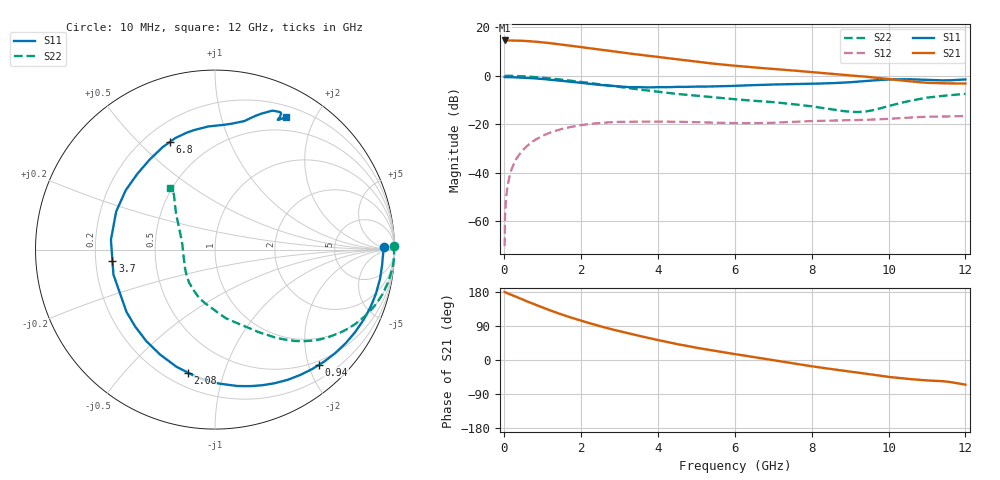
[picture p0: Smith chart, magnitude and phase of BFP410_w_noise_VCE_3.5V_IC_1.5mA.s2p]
! Infineon Technologies  Discrete & RF Semiconductors
! BFP410
! VCE =  3.5 V,  IC =  1.5 mA
! Common Emitter S-Parameters:  Nov 2015
# GHz  S  MA  R  50
!  f  S11  S21  S12  S22
! GHz  MAG  ANG  MAG  ANG  MAG  ANG  MAG  ANG
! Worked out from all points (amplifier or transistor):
!   243 points, 10 MHz to 12 GHz, reference 50 ohm
!   highest |S21| = 14.6 dB at 10 MHz (marker M1)
!   |S21| within 3 dB of that: start of sweep to 2.121 GHz
!   unconditionally stable (mu >= 1): 4.355 GHz to end of sweep
!   at 240 MHz: K = 0.04, MSG = 25.7 dB, |S12| = -36.8 dB
!   at 1.84 GHz: K = 0.32, MSG = 16.5 dB, |S12| = -20.8 dB
!   at 12 GHz: K = 1.18, MAG = 4.2 dB, |S12| = -16.7 dB
!   lowest NFmin = 0.80 dB at 900 MHz
!   S11 on the Smith chart (normalised r, x): 10 MHz: 32, +9; 940 MHz: 0.43, -2.19; 2.08 GHz: 0.28, -0.76; 3.7 GHz: 0.27, -0.05; 6.8 GHz: 0.30, +0.63; 12 GHz: 0.32, +1.63
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0.01  0.944 0.9  5.371 179.4  0.0003 -68.3  1 1.0
0.02  0.9391 -0.3  5.338 179.3  0.0012 80.7  0.9916 0.4
0.045  0.9359 -2.0  5.332 177.8  0.0027 82.9  0.9971 -0.6
0.095  0.9354 -4.6  5.354 176.0  0.0056 85.3  0.9979 -2.1
0.175  0.9336 -8.8  5.358 172.6  0.0106 84.2  0.9962 -4.2
0.5  0.9153 -25.4  5.271 158.8  0.03 76.1  0.9754 -12.3
0.7  0.8958 -35.6  5.157 150.4  0.0414 70.4  0.9546 -17.2
0.94  0.865 -47.8  4.957 140.8  0.0543 63.8  0.9217 -22.7
1.4  0.7999 -70.9  4.511 123.4  0.0756 51.5  0.8474 -32.4
1.7  0.7555 -85.1  4.214 113.2  0.0865 44.2  0.7966 -37.8
2.02  0.7111 -99.8  3.894 103.2  0.0959 37.2  0.7431 -43.0
2.08  0.7015 -102.5  3.838 101.4  0.0973 35.8  0.7328 -43.9
2.8  0.6178 -136.0  3.228 81.0  0.1096 21.8  0.6137 -53.9
3.7  0.5748 -173.9  2.611 59.5  0.1129 9.2  0.4995 -64.1
4.1  0.5804 171.4  2.39 50.6  0.1129 4.8  0.458 -68.8
5  0.5973 146.4  1.952 32.3  0.1096 -2.6  0.387 -81.0
6.1  0.6229 124.1  1.586 14.1  0.1046 -6.2  0.3222 -94.2
6.8  0.6509 112.5  1.423 2.8  0.1061 -6.6  0.2921 -104.7
8.2  0.6907 89.5  1.151 -19.3  0.1167 -10.4  0.2205 -133.8
9.2  0.7565 75.1  0.985 -33.3  0.1215 -13.5  0.178 -175.6
10.2  0.8426 66.1  0.824 -46.6  0.1316 -16.0  0.2596 143.1
12  0.8396 61.7  0.691 -65.0  0.1468 -27.8  0.4223 126.2
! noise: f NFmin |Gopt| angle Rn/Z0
0.45  0.83  0.58  8  0.37
0.9  0.8  0.56  23  0.31
1.8  1.07  0.45  56  0.26
2.4  1.14  0.41  67  0.25
5.5  2.37  0.4  -150  0.18
10  4.33  0.72  -58  2.98
